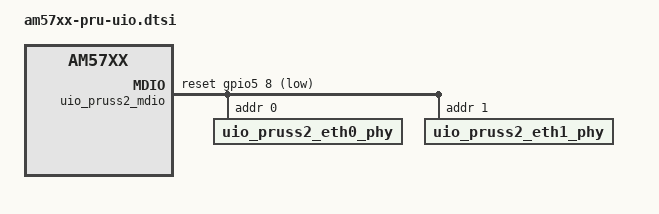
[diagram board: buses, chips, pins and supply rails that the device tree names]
&pruss_soc_bus1 {
                uio_pruss1_mem: uio_pruss1_mem {
                        compatible = "ti,uio-module-drv";
                        mem = <0x4b200000 0x2000>,
                              <0x4b202000 0x2000>,
                              <0x4b210000 0x8000>,
                              <0x4b220000 0x2000>,
                              <0x4b226000 0x2000>,
                              <0x4b22e000 0x31c>,
                              <0x4b232000 0x58>;
                        mem-names = "dram0", "dram1", "shrdram2", "intc", "cfg",
                                    "iep", "mii_rt";
                        status = "okay";
                };
                uio_pruss1_mem2: uio_pruss1_mem2 {
                        compatible = "ti,uio-module-drv";
                        mem = <0x4b228000 0x38>,
                              <0x4b230000 0x60>,
                              <0x4b232400 0x90>,
                              <0x40340000 0x40000>;
                        mem-names = "uart", "ecap", "mdio", "ocmc";
                        status = "okay";
                };
                uio_pruss1_evt0: uio_pruss1_evt0 {
                        compatible = "ti,uio-module-drv";
                        interrupts = <GIC_SPI 186 IRQ_TYPE_LEVEL_HIGH>;
                        interrupt-mode = <1>;
                        status = "okay";
                };
                uio_pruss1_evt1: uio_pruss1_evt1 {
                        compatible = "ti,uio-module-drv";
                        interrupts = <GIC_SPI 187 IRQ_TYPE_LEVEL_HIGH>;
                        interrupt-mode = <1>;
                        status = "okay";
                };
                uio_pruss1_evt2: uio_pruss1_evt2 {
                        compatible = "ti,uio-module-drv";
                        interrupts = <GIC_SPI 188 IRQ_TYPE_LEVEL_HIGH>;
                        interrupt-mode = <1>;
                        status = "okay";
                };
                uio_pruss1_evt3: uio_pruss1_evt3 {
                        compatible = "ti,uio-module-drv";
                        interrupts = <GIC_SPI 189 IRQ_TYPE_LEVEL_HIGH>;
                        interrupt-mode = <1>;
                        status = "okay";
                };
                uio_pruss1_evt4: uio_pruss1_evt4 {
                        compatible = "ti,uio-module-drv";
                        interrupts = <GIC_SPI 190 IRQ_TYPE_LEVEL_HIGH>;
                        interrupt-mode = <1>;
                        status = "okay";
                };
                uio_pruss1_evt5: uio_pruss1_evt5 {
                        compatible = "ti,uio-module-drv";
                        interrupts = <GIC_SPI 191 IRQ_TYPE_LEVEL_HIGH>;
                        interrupt-mode = <1>;
                        status = "okay";
                };
                uio_pruss1_evt6: uio_pruss1_evt6 {
                        compatible = "ti,uio-module-drv";
                        interrupts = <GIC_SPI 192 IRQ_TYPE_LEVEL_HIGH>;
                        interrupt-mode = <1>;
                        status = "okay";
                };
                uio_pruss1_evt7: uio_pruss1_evt7 {
                        compatible = "ti,uio-module-drv";
                        interrupts = <GIC_SPI 193 IRQ_TYPE_LEVEL_HIGH>;
                        interrupt-mode = <1>;
                        status = "okay";
                };

                uio_pruss1_0_mem: uio_pruss1_0_mem {
                        compatible = "ti,uio-module-drv";
                        mem = <0x4b234000 0x3000>,
                              <0x4b222000 0x400>,
                              <0x4b222400 0x100>;
                        mem-names = "iram", "control", "debug";
                        status = "okay";
                };

                uio_pruss1_1_mem: uio_pruss1_1_mem {
                        compatible = "ti,uio-module-drv";
                        mem = <0x4b238000 0x3000>,
                              <0x4b224000 0x400>,
                              <0x4b224400 0x100>;
                        mem-names = "iram", "control", "debug";
                        status = "okay";
                };
};

&pruss1 {
        status = "disabled";
};

&pru1_0 {
        status = "disabled";
};

&pru1_1 {
        status = "disabled";
};

&pruss1_intc {
        status = "disabled";
};

&pruss_soc_bus2 {
                uio_pruss2_mdio: uio_pruss2_mdio {
                    compatible = "ti,davinci_mdio";
                    #address-cells = <1>;
                    #size-cells = <0>;
                    clocks = <&dpll_gmac_h13x2_ck>;
                    clock-names = "fck";
                    bus_freq = <1000000>;
                    reg = <0x4a332400 0x90>;
                    status = "disabled";
                };

		uio_pruss2_mem: uio_pruss2_mem {
			compatible = "ti,uio-module-drv";
			mem = <0x4b280000 0x2000>,
			      <0x4b282000 0x2000>,
			      <0x4b290000 0x8000>,
			      <0x4b2a0000 0x2000>,
			      <0x4b2a6000 0x2000>,
			      <0x4b2ae000 0x31c>,
			      <0x4b2b2000 0x58>;
			mem-names = "dram0", "dram1", "shrdram2", "intc", "cfg",
				    "iep", "mii_rt";
			status = "okay";
		};
		uio_pruss2_mem2: uio_pruss2_mem2 {
			compatible = "ti,uio-module-drv";
			mem = <0x4b2a8000 0x38>,
			      <0x4b2b0000 0x60>,
			      <0x4b2b2400 0x90>,
			      <0x40300000 0x40000>;
			mem-names = "uart", "ecap", "mdio", "ocmc";
			status = "okay";
		};
		uio_pruss2_evt0: uio_pruss2_evt0 {
			compatible = "ti,uio-module-drv";
			interrupts = <GIC_SPI 196 IRQ_TYPE_LEVEL_HIGH>;
			interrupt-mode = <1>;
			status = "okay";
		};
		uio_pruss2_evt1: uio_pruss2_evt1 {
			compatible = "ti,uio-module-drv";
			interrupts = <GIC_SPI 197 IRQ_TYPE_LEVEL_HIGH>;
			interrupt-mode = <1>;
			status = "okay";
		};
		uio_pruss2_evt2: uio_pruss2_evt2 {
			compatible = "ti,uio-module-drv";
			interrupts = <GIC_SPI 198 IRQ_TYPE_LEVEL_HIGH>;
			interrupt-mode = <1>;
			status = "okay";
		};
		uio_pruss2_evt3: uio_pruss2_evt3 {
			compatible = "ti,uio-module-drv";
			interrupts = <GIC_SPI 199 IRQ_TYPE_LEVEL_HIGH>;
			interrupt-mode = <1>;
			status = "okay";
		};
		uio_pruss2_evt4: uio_pruss2_evt4 {
			compatible = "ti,uio-module-drv";
			interrupts = <GIC_SPI 200 IRQ_TYPE_LEVEL_HIGH>;
			interrupt-mode = <1>;
			status = "okay";
		};
		uio_pruss2_evt5: uio_pruss2_evt5 {
			compatible = "ti,uio-module-drv";
			interrupts = <GIC_SPI 201 IRQ_TYPE_LEVEL_HIGH>;
			interrupt-mode = <1>;
			status = "okay";
		};
		uio_pruss2_evt6: uio_pruss2_evt6 {
			compatible = "ti,uio-module-drv";
			interrupts = <GIC_SPI 202 IRQ_TYPE_LEVEL_HIGH>;
			interrupt-mode = <1>;
			status = "okay";
		};
		uio_pruss2_evt7: uio_pruss2_evt7 {
			compatible = "ti,uio-module-drv";
			interrupts = <GIC_SPI 203 IRQ_TYPE_LEVEL_HIGH>;
			interrupt-mode = <1>;
			status = "okay";
		};

		uio_pruss2_0_mem: uio_pruss2_0_mem {
			compatible = "ti,uio-module-drv";
			mem = <0x4b2b4000 0x3000>,
			      <0x4b2a2000 0x400>,
			      <0x4b2a2400 0x100>;
			mem-names = "iram", "control", "debug";
			status = "okay";
		};
		uio_pruss2_1_mem: uio_pruss2_1_mem {
			compatible = "ti,uio-module-drv";
			mem = <0x4b2b8000 0x3000>,
			      <0x4b2a4000 0x400>,
			      <0x4b2a4400 0x100>;
			mem-names = "iram", "control", "debug";
			status = "okay";
		};
};

&uio_pruss2_mdio {
        reset-gpios = <&gpio5 8 GPIO_ACTIVE_LOW>,
                      <&gpio5 9 GPIO_ACTIVE_LOW>;
        reset-delay-us = <2>;   /* PHY datasheet states 1uS min */
};

&uio_pruss2_mdio {
         status = "okay";
         uio_pruss2_eth0_phy: uio_pruss2_eth0_phy@0 {
             reg = <0>;
         };

         uio_pruss2_eth1_phy: uio_pruss2_eth1_phy@1 {
              reg = <1>;
          };
};

&pruss2_emac0 {
        status = "disabled";
};

&pruss2_emac1 {
        status = "disabled";
};

&pruss2 {
        status = "disabled";
};

&pru2_0 {
	status = "disabled";
};

&pru2_1 {
	status = "disabled";
};

&pruss2_intc {
        status = "disabled";
};

&pruss2_mdio {
        status = "disabled";
};
